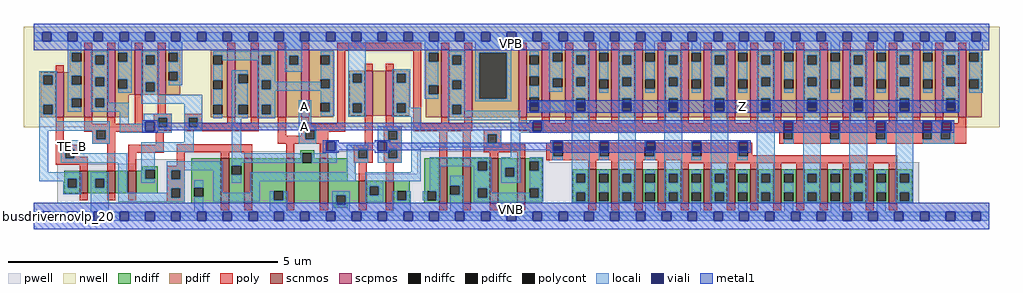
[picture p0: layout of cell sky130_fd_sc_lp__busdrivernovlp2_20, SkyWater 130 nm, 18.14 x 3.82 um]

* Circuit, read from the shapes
.subckt sky130_fd_sc_lp__busdrivernovlp2_20 A TE_B VGND VNB VPB VPWR Z
XM1 VGND TE_B n1 VNB sky130_fd_pr__nfet_01v8 w=0.42 l=0.15
XM2 n2 n1 VGND VNB sky130_fd_pr__nfet_01v8 w=0.42 l=0.15
XM3 n3 n4 n2 VNB sky130_fd_pr__nfet_01v8 w=0.42 l=0.15
XM4 n5 TE_B VGND VNB sky130_fd_pr__nfet_01v8 w=0.84 l=0.15 m=2
XM5 n5 A VGND VNB sky130_fd_pr__nfet_01v8 w=0.84 l=0.15 m=2
XM6 n6 TE_B VGND VNB sky130_fd_pr__nfet_01v8 w=0.42 l=0.15
XM7 VGND n5 n6 VNB sky130_fd_pr__nfet_01v8 w=0.42 l=0.15
XM8 VGND A n7 VNB sky130_fd_pr__nfet_01v8 w=0.84 l=0.15 m=2
XM9 n4 n6 n7 VNB sky130_fd_pr__nfet_01v8 w=0.84 l=0.15 m=2
XM10 VGND n5 Z VNB sky130_fd_pr__nfet_01v8 w=0.64 l=0.15 m=14
XM11 VPWR TE_B n1 VPB sky130_fd_pr__pfet_01v8 w=0.84 l=0.15
XM12 n4 n1 VPWR VPB sky130_fd_pr__pfet_01v8 w=1.26 l=0.15 m=2
XM13 n3 n1 VPWR VPB sky130_fd_pr__pfet_01v8 w=0.84 l=0.15
XM14 VPWR n4 n3 VPB sky130_fd_pr__pfet_01v8 w=0.84 l=0.15
XM15 n5 n3 n8 VPB sky130_fd_pr__pfet_01v8 w=1.26 l=0.15 m=2
XM16 VPWR A n8 VPB sky130_fd_pr__pfet_01v8 w=1.26 l=0.15 m=2
XM17 n9 TE_B VPWR VPB sky130_fd_pr__pfet_01v8 w=0.84 l=0.15
XM18 n6 n5 n9 VPB sky130_fd_pr__pfet_01v8 w=0.84 l=0.15
XM19 n4 A VPWR VPB sky130_fd_pr__pfet_01v8 w=1.26 l=0.15 m=2
XM20 Z n4 VPWR VPB sky130_fd_pr__pfet_01v8 w=1.26 l=0.15 m=20
.ends

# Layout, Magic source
magic
tech sky130A
magscale 1 2
<< nwell >>
rect -38 331 3590 704
<< pwell >>
rect 964 241 1068 271
rect 559 211 1194 241
rect 377 195 1194 211
rect 88 157 1194 195
rect 1425 201 1916 241
rect 1425 157 3292 201
rect 88 49 3292 157
rect 0 0 3552 49
<< scnmos >>
rect 171 85 201 169
rect 273 85 303 169
rect 351 85 381 169
rect 696 47 726 215
rect 782 47 812 215
rect 938 47 968 215
rect 1064 47 1094 215
rect 1208 47 1238 131
rect 1308 47 1338 131
rect 1508 47 1538 215
rect 1594 47 1624 215
rect 1696 47 1726 215
rect 1798 47 1828 215
rect 2061 47 2091 175
rect 2147 47 2177 175
rect 2233 47 2263 175
rect 2319 47 2349 175
rect 2405 47 2435 175
rect 2491 47 2521 175
rect 2577 47 2607 175
rect 2663 47 2693 175
rect 2749 47 2779 175
rect 2835 47 2865 175
rect 2921 47 2951 175
rect 3007 47 3037 175
rect 3093 47 3123 175
rect 3179 47 3209 175
<< scpmos >>
rect 81 367 111 535
rect 187 367 217 619
rect 273 367 303 619
rect 375 451 405 619
rect 461 451 491 619
rect 720 367 750 619
rect 806 367 836 619
rect 908 367 938 619
rect 994 367 1024 619
rect 1230 373 1260 541
rect 1308 373 1338 541
rect 1514 367 1544 619
rect 1600 367 1630 619
rect 1803 367 1833 619
rect 1889 367 1919 619
rect 1975 367 2005 619
rect 2061 367 2091 619
rect 2147 367 2177 619
rect 2233 367 2263 619
rect 2319 367 2349 619
rect 2405 367 2435 619
rect 2491 367 2521 619
rect 2577 367 2607 619
rect 2663 367 2693 619
rect 2749 367 2779 619
rect 2835 367 2865 619
rect 2921 367 2951 619
rect 3007 367 3037 619
rect 3093 367 3123 619
rect 3179 367 3209 619
rect 3265 367 3295 619
rect 3351 367 3381 619
rect 3437 367 3467 619
<< ndiff >>
rect 990 233 1042 245
rect 990 215 999 233
rect 403 173 461 185
rect 403 169 415 173
rect 114 139 171 169
rect 114 105 126 139
rect 160 105 171 139
rect 114 85 171 105
rect 201 139 273 169
rect 201 105 228 139
rect 262 105 273 139
rect 201 85 273 105
rect 303 85 351 169
rect 381 139 415 169
rect 449 139 461 173
rect 381 85 461 139
rect 585 105 696 215
rect 585 71 597 105
rect 631 71 696 105
rect 585 47 696 71
rect 726 188 782 215
rect 726 154 737 188
rect 771 154 782 188
rect 726 47 782 154
rect 812 93 938 215
rect 812 59 893 93
rect 927 59 938 93
rect 812 47 938 59
rect 968 199 999 215
rect 1033 215 1042 233
rect 1033 199 1064 215
rect 968 47 1064 199
rect 1094 131 1168 215
rect 1094 77 1208 131
rect 1094 47 1125 77
rect 1116 43 1125 47
rect 1159 47 1208 77
rect 1238 111 1308 131
rect 1238 77 1249 111
rect 1283 77 1308 111
rect 1238 47 1308 77
rect 1338 93 1397 131
rect 1338 59 1351 93
rect 1385 59 1397 93
rect 1338 47 1397 59
rect 1451 93 1508 215
rect 1451 59 1463 93
rect 1497 59 1508 93
rect 1451 47 1508 59
rect 1538 113 1594 215
rect 1538 79 1549 113
rect 1583 79 1594 113
rect 1538 47 1594 79
rect 1624 203 1696 215
rect 1624 169 1651 203
rect 1685 169 1696 203
rect 1624 103 1696 169
rect 1624 69 1651 103
rect 1685 69 1696 103
rect 1624 47 1696 69
rect 1726 180 1798 215
rect 1726 146 1753 180
rect 1787 146 1798 180
rect 1726 47 1798 146
rect 1828 203 1890 215
rect 1828 169 1844 203
rect 1878 169 1890 203
rect 1828 103 1890 169
rect 1828 69 1844 103
rect 1878 69 1890 103
rect 1828 47 1890 69
rect 2004 157 2061 175
rect 2004 123 2016 157
rect 2050 123 2061 157
rect 2004 89 2061 123
rect 2004 55 2016 89
rect 2050 55 2061 89
rect 2004 47 2061 55
rect 2091 157 2147 175
rect 2091 123 2102 157
rect 2136 123 2147 157
rect 2091 89 2147 123
rect 2091 55 2102 89
rect 2136 55 2147 89
rect 2091 47 2147 55
rect 2177 157 2233 175
rect 2177 123 2188 157
rect 2222 123 2233 157
rect 2177 89 2233 123
rect 2177 55 2188 89
rect 2222 55 2233 89
rect 2177 47 2233 55
rect 2263 157 2319 175
rect 2263 123 2274 157
rect 2308 123 2319 157
rect 2263 89 2319 123
rect 2263 55 2274 89
rect 2308 55 2319 89
rect 2263 47 2319 55
rect 2349 157 2405 175
rect 2349 123 2360 157
rect 2394 123 2405 157
rect 2349 89 2405 123
rect 2349 55 2360 89
rect 2394 55 2405 89
rect 2349 47 2405 55
rect 2435 157 2491 175
rect 2435 123 2446 157
rect 2480 123 2491 157
rect 2435 89 2491 123
rect 2435 55 2446 89
rect 2480 55 2491 89
rect 2435 47 2491 55
rect 2521 157 2577 175
rect 2521 123 2532 157
rect 2566 123 2577 157
rect 2521 89 2577 123
rect 2521 55 2532 89
rect 2566 55 2577 89
rect 2521 47 2577 55
rect 2607 157 2663 175
rect 2607 123 2618 157
rect 2652 123 2663 157
rect 2607 89 2663 123
rect 2607 55 2618 89
rect 2652 55 2663 89
rect 2607 47 2663 55
rect 2693 157 2749 175
rect 2693 123 2704 157
rect 2738 123 2749 157
rect 2693 89 2749 123
rect 2693 55 2704 89
rect 2738 55 2749 89
rect 2693 47 2749 55
rect 2779 157 2835 175
rect 2779 123 2790 157
rect 2824 123 2835 157
rect 2779 89 2835 123
rect 2779 55 2790 89
rect 2824 55 2835 89
rect 2779 47 2835 55
rect 2865 157 2921 175
rect 2865 123 2876 157
rect 2910 123 2921 157
rect 2865 89 2921 123
rect 2865 55 2876 89
rect 2910 55 2921 89
rect 2865 47 2921 55
rect 2951 157 3007 175
rect 2951 123 2962 157
rect 2996 123 3007 157
rect 2951 89 3007 123
rect 2951 55 2962 89
rect 2996 55 3007 89
rect 2951 47 3007 55
rect 3037 157 3093 175
rect 3037 123 3048 157
rect 3082 123 3093 157
rect 3037 89 3093 123
rect 3037 55 3048 89
rect 3082 55 3093 89
rect 3037 47 3093 55
rect 3123 157 3179 175
rect 3123 123 3134 157
rect 3168 123 3179 157
rect 3123 89 3179 123
rect 3123 55 3134 89
rect 3168 55 3179 89
rect 3123 47 3179 55
rect 3209 157 3266 175
rect 3209 123 3220 157
rect 3254 123 3266 157
rect 3209 89 3266 123
rect 3209 55 3220 89
rect 3254 55 3266 89
rect 3209 47 3266 55
rect 1159 43 1168 47
rect 1116 31 1168 43
<< pdiff >>
rect 133 607 187 619
rect 133 573 142 607
rect 176 573 187 607
rect 133 535 187 573
rect 27 523 81 535
rect 27 489 36 523
rect 70 489 81 523
rect 27 413 81 489
rect 27 379 36 413
rect 70 379 81 413
rect 27 367 81 379
rect 111 522 187 535
rect 111 488 142 522
rect 176 488 187 522
rect 111 438 187 488
rect 111 404 142 438
rect 176 404 187 438
rect 111 367 187 404
rect 217 597 273 619
rect 217 563 228 597
rect 262 563 273 597
rect 217 517 273 563
rect 217 483 228 517
rect 262 483 273 517
rect 217 438 273 483
rect 217 404 228 438
rect 262 404 273 438
rect 217 367 273 404
rect 303 607 375 619
rect 303 573 314 607
rect 348 573 375 607
rect 303 508 375 573
rect 303 474 314 508
rect 348 474 375 508
rect 303 451 375 474
rect 405 597 461 619
rect 405 563 416 597
rect 450 563 461 597
rect 405 497 461 563
rect 405 463 416 497
rect 450 463 461 497
rect 405 451 461 463
rect 491 607 545 619
rect 491 573 502 607
rect 536 573 545 607
rect 491 537 545 573
rect 491 503 502 537
rect 536 503 545 537
rect 491 451 545 503
rect 658 597 720 619
rect 658 563 667 597
rect 701 563 720 597
rect 658 505 720 563
rect 658 471 667 505
rect 701 471 720 505
rect 303 367 353 451
rect 658 413 720 471
rect 658 379 667 413
rect 701 379 720 413
rect 658 367 720 379
rect 750 527 806 619
rect 750 493 761 527
rect 795 493 806 527
rect 750 413 806 493
rect 750 379 761 413
rect 795 379 806 413
rect 750 367 806 379
rect 836 597 908 619
rect 836 563 847 597
rect 881 563 908 597
rect 836 505 908 563
rect 836 471 847 505
rect 881 471 908 505
rect 836 413 908 471
rect 836 379 847 413
rect 881 379 908 413
rect 836 367 908 379
rect 938 596 994 619
rect 938 562 949 596
rect 983 562 994 596
rect 938 367 994 562
rect 1024 597 1113 619
rect 1024 563 1067 597
rect 1101 563 1113 597
rect 1024 509 1113 563
rect 1024 475 1067 509
rect 1101 475 1113 509
rect 1024 421 1113 475
rect 1024 387 1067 421
rect 1101 387 1113 421
rect 1024 367 1113 387
rect 1173 529 1230 541
rect 1173 495 1185 529
rect 1219 495 1230 529
rect 1173 419 1230 495
rect 1173 385 1185 419
rect 1219 385 1230 419
rect 1173 373 1230 385
rect 1260 373 1308 541
rect 1338 529 1395 541
rect 1338 495 1349 529
rect 1383 495 1395 529
rect 1338 419 1395 495
rect 1338 385 1349 419
rect 1383 385 1395 419
rect 1338 373 1395 385
rect 1457 607 1514 619
rect 1457 573 1469 607
rect 1503 573 1514 607
rect 1457 487 1514 573
rect 1457 453 1469 487
rect 1503 453 1514 487
rect 1457 367 1514 453
rect 1544 597 1600 619
rect 1544 563 1555 597
rect 1589 563 1600 597
rect 1544 505 1600 563
rect 1544 471 1555 505
rect 1589 471 1600 505
rect 1544 413 1600 471
rect 1544 379 1555 413
rect 1589 379 1600 413
rect 1544 367 1600 379
rect 1630 607 1803 619
rect 1630 437 1657 607
rect 1759 437 1803 607
rect 1630 367 1803 437
rect 1833 597 1889 619
rect 1833 563 1844 597
rect 1878 563 1889 597
rect 1833 519 1889 563
rect 1833 485 1844 519
rect 1878 485 1889 519
rect 1833 442 1889 485
rect 1833 408 1844 442
rect 1878 408 1889 442
rect 1833 367 1889 408
rect 1919 607 1975 619
rect 1919 573 1930 607
rect 1964 573 1975 607
rect 1919 512 1975 573
rect 1919 478 1930 512
rect 1964 478 1975 512
rect 1919 367 1975 478
rect 2005 597 2061 619
rect 2005 563 2016 597
rect 2050 563 2061 597
rect 2005 517 2061 563
rect 2005 483 2016 517
rect 2050 483 2061 517
rect 2005 438 2061 483
rect 2005 404 2016 438
rect 2050 404 2061 438
rect 2005 367 2061 404
rect 2091 607 2147 619
rect 2091 573 2102 607
rect 2136 573 2147 607
rect 2091 508 2147 573
rect 2091 474 2102 508
rect 2136 474 2147 508
rect 2091 367 2147 474
rect 2177 597 2233 619
rect 2177 563 2188 597
rect 2222 563 2233 597
rect 2177 517 2233 563
rect 2177 483 2188 517
rect 2222 483 2233 517
rect 2177 438 2233 483
rect 2177 404 2188 438
rect 2222 404 2233 438
rect 2177 367 2233 404
rect 2263 607 2319 619
rect 2263 573 2274 607
rect 2308 573 2319 607
rect 2263 508 2319 573
rect 2263 474 2274 508
rect 2308 474 2319 508
rect 2263 367 2319 474
rect 2349 597 2405 619
rect 2349 563 2360 597
rect 2394 563 2405 597
rect 2349 517 2405 563
rect 2349 483 2360 517
rect 2394 483 2405 517
rect 2349 438 2405 483
rect 2349 404 2360 438
rect 2394 404 2405 438
rect 2349 367 2405 404
rect 2435 607 2491 619
rect 2435 573 2446 607
rect 2480 573 2491 607
rect 2435 508 2491 573
rect 2435 474 2446 508
rect 2480 474 2491 508
rect 2435 367 2491 474
rect 2521 597 2577 619
rect 2521 563 2532 597
rect 2566 563 2577 597
rect 2521 517 2577 563
rect 2521 483 2532 517
rect 2566 483 2577 517
rect 2521 438 2577 483
rect 2521 404 2532 438
rect 2566 404 2577 438
rect 2521 367 2577 404
rect 2607 607 2663 619
rect 2607 573 2618 607
rect 2652 573 2663 607
rect 2607 508 2663 573
rect 2607 474 2618 508
rect 2652 474 2663 508
rect 2607 367 2663 474
rect 2693 597 2749 619
rect 2693 563 2704 597
rect 2738 563 2749 597
rect 2693 517 2749 563
rect 2693 483 2704 517
rect 2738 483 2749 517
rect 2693 438 2749 483
rect 2693 404 2704 438
rect 2738 404 2749 438
rect 2693 367 2749 404
rect 2779 607 2835 619
rect 2779 573 2790 607
rect 2824 573 2835 607
rect 2779 508 2835 573
rect 2779 474 2790 508
rect 2824 474 2835 508
rect 2779 367 2835 474
rect 2865 597 2921 619
rect 2865 563 2876 597
rect 2910 563 2921 597
rect 2865 517 2921 563
rect 2865 483 2876 517
rect 2910 483 2921 517
rect 2865 438 2921 483
rect 2865 404 2876 438
rect 2910 404 2921 438
rect 2865 367 2921 404
rect 2951 607 3007 619
rect 2951 573 2962 607
rect 2996 573 3007 607
rect 2951 508 3007 573
rect 2951 474 2962 508
rect 2996 474 3007 508
rect 2951 367 3007 474
rect 3037 597 3093 619
rect 3037 563 3048 597
rect 3082 563 3093 597
rect 3037 517 3093 563
rect 3037 483 3048 517
rect 3082 483 3093 517
rect 3037 438 3093 483
rect 3037 404 3048 438
rect 3082 404 3093 438
rect 3037 367 3093 404
rect 3123 607 3179 619
rect 3123 573 3134 607
rect 3168 573 3179 607
rect 3123 508 3179 573
rect 3123 474 3134 508
rect 3168 474 3179 508
rect 3123 367 3179 474
rect 3209 597 3265 619
rect 3209 563 3220 597
rect 3254 563 3265 597
rect 3209 517 3265 563
rect 3209 483 3220 517
rect 3254 483 3265 517
rect 3209 438 3265 483
rect 3209 404 3220 438
rect 3254 404 3265 438
rect 3209 367 3265 404
rect 3295 607 3351 619
rect 3295 573 3306 607
rect 3340 573 3351 607
rect 3295 508 3351 573
rect 3295 474 3306 508
rect 3340 474 3351 508
rect 3295 367 3351 474
rect 3381 597 3437 619
rect 3381 563 3392 597
rect 3426 563 3437 597
rect 3381 517 3437 563
rect 3381 483 3392 517
rect 3426 483 3437 517
rect 3381 438 3437 483
rect 3381 404 3392 438
rect 3426 404 3437 438
rect 3381 367 3437 404
rect 3467 607 3524 619
rect 3467 573 3478 607
rect 3512 573 3524 607
rect 3467 508 3524 573
rect 3467 474 3478 508
rect 3512 474 3524 508
rect 3467 367 3524 474
<< ndiffc >>
rect 126 105 160 139
rect 228 105 262 139
rect 415 139 449 173
rect 597 71 631 105
rect 737 154 771 188
rect 893 59 927 93
rect 999 199 1033 233
rect 1125 43 1159 77
rect 1249 77 1283 111
rect 1351 59 1385 93
rect 1463 59 1497 93
rect 1549 79 1583 113
rect 1651 169 1685 203
rect 1651 69 1685 103
rect 1753 146 1787 180
rect 1844 169 1878 203
rect 1844 69 1878 103
rect 2016 123 2050 157
rect 2016 55 2050 89
rect 2102 123 2136 157
rect 2102 55 2136 89
rect 2188 123 2222 157
rect 2188 55 2222 89
rect 2274 123 2308 157
rect 2274 55 2308 89
rect 2360 123 2394 157
rect 2360 55 2394 89
rect 2446 123 2480 157
rect 2446 55 2480 89
rect 2532 123 2566 157
rect 2532 55 2566 89
rect 2618 123 2652 157
rect 2618 55 2652 89
rect 2704 123 2738 157
rect 2704 55 2738 89
rect 2790 123 2824 157
rect 2790 55 2824 89
rect 2876 123 2910 157
rect 2876 55 2910 89
rect 2962 123 2996 157
rect 2962 55 2996 89
rect 3048 123 3082 157
rect 3048 55 3082 89
rect 3134 123 3168 157
rect 3134 55 3168 89
rect 3220 123 3254 157
rect 3220 55 3254 89
<< pdiffc >>
rect 142 573 176 607
rect 36 489 70 523
rect 36 379 70 413
rect 142 488 176 522
rect 142 404 176 438
rect 228 563 262 597
rect 228 483 262 517
rect 228 404 262 438
rect 314 573 348 607
rect 314 474 348 508
rect 416 563 450 597
rect 416 463 450 497
rect 502 573 536 607
rect 502 503 536 537
rect 667 563 701 597
rect 667 471 701 505
rect 667 379 701 413
rect 761 493 795 527
rect 761 379 795 413
rect 847 563 881 597
rect 847 471 881 505
rect 847 379 881 413
rect 949 562 983 596
rect 1067 563 1101 597
rect 1067 475 1101 509
rect 1067 387 1101 421
rect 1185 495 1219 529
rect 1185 385 1219 419
rect 1349 495 1383 529
rect 1349 385 1383 419
rect 1469 573 1503 607
rect 1469 453 1503 487
rect 1555 563 1589 597
rect 1555 471 1589 505
rect 1555 379 1589 413
rect 1657 437 1759 607
rect 1844 563 1878 597
rect 1844 485 1878 519
rect 1844 408 1878 442
rect 1930 573 1964 607
rect 1930 478 1964 512
rect 2016 563 2050 597
rect 2016 483 2050 517
rect 2016 404 2050 438
rect 2102 573 2136 607
rect 2102 474 2136 508
rect 2188 563 2222 597
rect 2188 483 2222 517
rect 2188 404 2222 438
rect 2274 573 2308 607
rect 2274 474 2308 508
rect 2360 563 2394 597
rect 2360 483 2394 517
rect 2360 404 2394 438
rect 2446 573 2480 607
rect 2446 474 2480 508
rect 2532 563 2566 597
rect 2532 483 2566 517
rect 2532 404 2566 438
rect 2618 573 2652 607
rect 2618 474 2652 508
rect 2704 563 2738 597
rect 2704 483 2738 517
rect 2704 404 2738 438
rect 2790 573 2824 607
rect 2790 474 2824 508
rect 2876 563 2910 597
rect 2876 483 2910 517
rect 2876 404 2910 438
rect 2962 573 2996 607
rect 2962 474 2996 508
rect 3048 563 3082 597
rect 3048 483 3082 517
rect 3048 404 3082 438
rect 3134 573 3168 607
rect 3134 474 3168 508
rect 3220 563 3254 597
rect 3220 483 3254 517
rect 3220 404 3254 438
rect 3306 573 3340 607
rect 3306 474 3340 508
rect 3392 563 3426 597
rect 3392 483 3426 517
rect 3392 404 3426 438
rect 3478 573 3512 607
rect 3478 474 3512 508
<< poly >>
rect 187 619 217 645
rect 273 619 303 645
rect 375 619 405 645
rect 461 619 491 645
rect 720 619 750 645
rect 806 619 836 645
rect 908 619 938 645
rect 994 619 1024 645
rect 81 535 111 561
rect 81 265 111 367
rect 187 343 217 367
rect 273 343 303 367
rect 375 343 405 451
rect 461 381 491 451
rect 187 319 405 343
rect 187 313 233 319
rect 217 285 233 313
rect 267 313 405 319
rect 447 365 513 381
rect 447 331 463 365
rect 497 331 513 365
rect 447 315 513 331
rect 560 365 626 381
rect 1128 615 1440 645
rect 1514 619 1544 645
rect 1600 619 1630 645
rect 1803 619 1833 645
rect 1889 619 1919 645
rect 1975 619 2005 645
rect 2061 619 2091 645
rect 2147 619 2177 645
rect 2233 619 2263 645
rect 2319 619 2349 645
rect 2405 619 2435 645
rect 2491 619 2521 645
rect 2577 619 2607 645
rect 2663 619 2693 645
rect 2749 619 2779 645
rect 2835 619 2865 645
rect 2921 619 2951 645
rect 3007 619 3037 645
rect 3093 619 3123 645
rect 3179 619 3209 645
rect 3265 619 3295 645
rect 3351 619 3381 645
rect 3437 619 3467 645
rect 560 331 576 365
rect 610 345 626 365
rect 720 345 750 367
rect 806 345 836 367
rect 610 331 836 345
rect 560 315 836 331
rect 267 285 303 313
rect 217 269 303 285
rect 81 249 167 265
rect 81 215 117 249
rect 151 221 167 249
rect 151 215 201 221
rect 81 191 201 215
rect 171 169 201 191
rect 273 169 303 269
rect 453 265 483 315
rect 908 299 938 367
rect 994 343 1024 367
rect 1128 343 1158 615
rect 1230 541 1260 567
rect 1308 541 1338 567
rect 994 319 1158 343
rect 994 299 1010 319
rect 908 285 1010 299
rect 1044 313 1158 319
rect 1044 285 1094 313
rect 908 269 1094 285
rect 351 235 483 265
rect 531 237 812 267
rect 351 169 381 235
rect 531 187 561 237
rect 696 215 726 237
rect 782 215 812 237
rect 938 215 968 269
rect 495 171 561 187
rect 495 137 511 171
rect 545 137 561 171
rect 495 103 561 137
rect 171 59 201 85
rect 273 59 303 85
rect 351 59 381 85
rect 495 69 511 103
rect 545 69 561 103
rect 495 53 561 69
rect 1064 215 1094 269
rect 1230 265 1260 373
rect 1308 333 1338 373
rect 1410 345 1440 615
rect 1514 345 1544 367
rect 1600 345 1630 367
rect 1190 249 1260 265
rect 1190 215 1206 249
rect 1240 215 1260 249
rect 1190 199 1260 215
rect 1302 317 1368 333
rect 1302 283 1318 317
rect 1352 283 1368 317
rect 1410 315 1630 345
rect 1803 345 1833 367
rect 1889 345 1919 367
rect 1975 345 2005 367
rect 2061 345 2091 367
rect 2147 345 2177 367
rect 2233 345 2263 367
rect 2319 345 2349 367
rect 2405 345 2435 367
rect 2491 345 2521 367
rect 2577 345 2607 367
rect 2663 345 2693 367
rect 2749 345 2779 367
rect 2835 345 2865 367
rect 2921 345 2951 367
rect 3007 345 3037 367
rect 3093 345 3123 367
rect 3179 345 3209 367
rect 3265 345 3295 367
rect 3351 345 3381 367
rect 3437 345 3467 367
rect 1302 249 1368 283
rect 1302 215 1318 249
rect 1352 215 1368 249
rect 1508 215 1538 315
rect 1594 215 1624 315
rect 1672 305 1738 321
rect 1803 319 3467 345
rect 1803 315 2788 319
rect 1672 271 1688 305
rect 1722 271 1738 305
rect 2772 285 2788 315
rect 2822 285 2960 319
rect 2994 285 3132 319
rect 3166 285 3304 319
rect 3338 285 3372 319
rect 3406 285 3467 319
rect 1672 267 1738 271
rect 1672 237 1828 267
rect 1696 215 1726 237
rect 1798 215 1828 237
rect 1905 257 2670 273
rect 2772 269 3467 285
rect 1905 223 1932 257
rect 1966 223 2104 257
rect 2138 223 2272 257
rect 2306 223 2448 257
rect 2482 223 2620 257
rect 2654 227 2670 257
rect 2654 223 3209 227
rect 1302 199 1368 215
rect 1208 131 1238 199
rect 1308 131 1338 199
rect 696 21 726 47
rect 782 21 812 47
rect 938 21 968 47
rect 1064 21 1094 47
rect 1905 207 3209 223
rect 2061 175 2091 207
rect 2147 175 2177 207
rect 2233 175 2263 207
rect 2319 175 2349 207
rect 2405 197 3209 207
rect 2405 175 2435 197
rect 2491 175 2521 197
rect 2577 175 2607 197
rect 2663 175 2693 197
rect 2749 175 2779 197
rect 2835 175 2865 197
rect 2921 175 2951 197
rect 3007 175 3037 197
rect 3093 175 3123 197
rect 3179 175 3209 197
rect 1208 21 1238 47
rect 1308 21 1338 47
rect 1508 21 1538 47
rect 1594 21 1624 47
rect 1696 21 1726 47
rect 1798 21 1828 47
rect 2061 21 2091 47
rect 2147 21 2177 47
rect 2233 21 2263 47
rect 2319 21 2349 47
rect 2405 21 2435 47
rect 2491 21 2521 47
rect 2577 21 2607 47
rect 2663 21 2693 47
rect 2749 21 2779 47
rect 2835 21 2865 47
rect 2921 21 2951 47
rect 3007 21 3037 47
rect 3093 21 3123 47
rect 3179 21 3209 47
<< polycont >>
rect 233 285 267 319
rect 463 331 497 365
rect 576 331 610 365
rect 117 215 151 249
rect 1010 285 1044 319
rect 511 137 545 171
rect 511 69 545 103
rect 1206 215 1240 249
rect 1318 283 1352 317
rect 1318 215 1352 249
rect 1688 271 1722 305
rect 2788 285 2822 319
rect 2960 285 2994 319
rect 3132 285 3166 319
rect 3304 285 3338 319
rect 3372 285 3406 319
rect 1932 223 1966 257
rect 2104 223 2138 257
rect 2272 223 2306 257
rect 2448 223 2482 257
rect 2620 223 2654 257
<< locali >>
rect 0 649 31 683
rect 65 649 127 683
rect 161 649 223 683
rect 257 649 319 683
rect 353 649 415 683
rect 449 649 511 683
rect 545 649 607 683
rect 641 649 703 683
rect 737 649 799 683
rect 833 649 895 683
rect 929 649 991 683
rect 1025 649 1087 683
rect 1121 649 1183 683
rect 1217 649 1279 683
rect 1313 649 1375 683
rect 1409 649 1471 683
rect 1505 649 1567 683
rect 1601 649 1663 683
rect 1697 649 1759 683
rect 1793 649 1855 683
rect 1889 649 1951 683
rect 1985 649 2047 683
rect 2081 649 2143 683
rect 2177 649 2239 683
rect 2273 649 2335 683
rect 2369 649 2431 683
rect 2465 649 2527 683
rect 2561 649 2623 683
rect 2657 649 2719 683
rect 2753 649 2815 683
rect 2849 649 2911 683
rect 2945 649 3007 683
rect 3041 649 3103 683
rect 3137 649 3199 683
rect 3233 649 3295 683
rect 3329 649 3391 683
rect 3425 649 3487 683
rect 3521 649 3552 683
rect 126 607 176 649
rect 126 573 142 607
rect 20 523 86 539
rect 20 489 36 523
rect 70 489 86 523
rect 20 413 86 489
rect 20 379 36 413
rect 70 379 86 413
rect 126 522 176 573
rect 126 488 142 522
rect 126 438 176 488
rect 126 404 142 438
rect 126 388 176 404
rect 212 597 278 613
rect 212 563 228 597
rect 262 563 278 597
rect 212 517 278 563
rect 212 483 228 517
rect 262 483 278 517
rect 212 438 278 483
rect 314 607 364 649
rect 348 573 364 607
rect 314 508 364 573
rect 348 474 364 508
rect 314 458 364 474
rect 400 597 466 613
rect 400 563 416 597
rect 450 563 466 597
rect 400 497 466 563
rect 400 463 416 497
rect 450 463 466 497
rect 502 607 552 649
rect 536 573 552 607
rect 502 537 552 573
rect 536 503 552 537
rect 502 487 552 503
rect 667 597 897 613
rect 701 579 847 597
rect 667 505 701 563
rect 831 563 847 579
rect 881 563 897 597
rect 212 404 228 438
rect 262 422 278 438
rect 400 451 466 463
rect 262 404 353 422
rect 400 417 626 451
rect 212 388 353 404
rect 20 352 86 379
rect 20 319 283 352
rect 20 318 233 319
rect 20 163 54 318
rect 217 285 233 318
rect 267 285 283 319
rect 319 344 353 388
rect 409 365 513 381
rect 409 350 463 365
rect 409 344 415 350
rect 319 316 415 344
rect 449 331 463 350
rect 497 331 513 365
rect 449 316 513 331
rect 319 310 513 316
rect 560 365 626 417
rect 560 331 576 365
rect 610 331 626 365
rect 667 413 701 471
rect 667 363 701 379
rect 737 527 795 543
rect 737 493 761 527
rect 737 413 795 493
rect 737 379 761 413
rect 737 363 795 379
rect 831 505 897 563
rect 933 596 999 649
rect 933 562 949 596
rect 983 562 999 596
rect 933 536 999 562
rect 1067 597 1117 613
rect 1101 563 1117 597
rect 831 471 847 505
rect 881 500 897 505
rect 1067 509 1117 563
rect 881 475 1067 500
rect 1101 475 1117 509
rect 881 471 1117 475
rect 831 466 1117 471
rect 831 413 897 466
rect 831 379 847 413
rect 881 379 897 413
rect 831 363 897 379
rect 560 315 626 331
rect 101 249 167 282
rect 217 269 283 285
rect 560 274 594 315
rect 101 215 117 249
rect 151 233 167 249
rect 399 240 594 274
rect 151 215 348 233
rect 101 199 348 215
rect 20 139 176 163
rect 20 129 126 139
rect 110 105 126 129
rect 160 105 176 139
rect 110 81 176 105
rect 212 139 278 163
rect 212 105 228 139
rect 262 105 278 139
rect 212 17 278 105
rect 314 87 348 199
rect 399 173 449 240
rect 737 233 771 363
rect 985 335 1031 430
rect 1067 421 1117 466
rect 1101 387 1117 421
rect 1067 371 1117 387
rect 1169 529 1235 649
rect 1453 607 1503 649
rect 1453 573 1469 607
rect 1169 495 1185 529
rect 1219 495 1235 529
rect 1169 419 1235 495
rect 1169 385 1185 419
rect 1219 385 1235 419
rect 1169 369 1235 385
rect 1333 529 1399 545
rect 1333 495 1349 529
rect 1383 495 1399 529
rect 1333 419 1399 495
rect 1453 487 1503 573
rect 1453 453 1469 487
rect 1453 437 1503 453
rect 1539 597 1605 613
rect 1539 563 1555 597
rect 1589 563 1605 597
rect 1539 505 1605 563
rect 1539 471 1555 505
rect 1589 471 1605 505
rect 1333 385 1349 419
rect 1383 403 1399 419
rect 1539 413 1605 471
rect 1641 607 1775 649
rect 1641 437 1657 607
rect 1759 437 1775 607
rect 1641 427 1775 437
rect 1844 597 1878 613
rect 1844 519 1878 563
rect 1844 442 1878 485
rect 1914 607 1964 649
rect 1914 573 1930 607
rect 1914 512 1964 573
rect 1914 478 1930 512
rect 1914 462 1964 478
rect 2000 597 2066 613
rect 2000 563 2016 597
rect 2050 563 2066 597
rect 2000 517 2066 563
rect 2000 483 2016 517
rect 2050 483 2066 517
rect 1383 385 1438 403
rect 1333 369 1438 385
rect 985 319 1051 335
rect 985 285 1010 319
rect 1044 285 1051 319
rect 985 269 1051 285
rect 1279 317 1368 333
rect 1279 283 1318 317
rect 1352 283 1368 317
rect 1087 276 1127 282
rect 1121 242 1127 276
rect 1279 276 1368 283
rect 1087 233 1127 242
rect 399 139 415 173
rect 399 123 449 139
rect 495 171 701 204
rect 495 137 511 171
rect 545 170 701 171
rect 545 137 561 170
rect 495 103 561 137
rect 495 87 511 103
rect 314 69 511 87
rect 545 69 561 103
rect 314 53 561 69
rect 597 105 631 134
rect 597 17 631 71
rect 667 87 701 170
rect 737 199 999 233
rect 1033 199 1127 233
rect 1163 249 1243 265
rect 1163 215 1206 249
rect 1240 215 1243 249
rect 1163 199 1243 215
rect 1313 249 1368 276
rect 1313 242 1318 249
rect 1279 215 1318 242
rect 1352 215 1368 249
rect 1279 199 1368 215
rect 1404 321 1438 369
rect 1539 379 1555 413
rect 1589 391 1605 413
rect 2000 438 2066 483
rect 2102 607 2136 649
rect 2102 508 2136 573
rect 2102 458 2136 474
rect 2172 597 2238 613
rect 2172 563 2188 597
rect 2222 563 2238 597
rect 2172 517 2238 563
rect 2172 483 2188 517
rect 2222 483 2238 517
rect 2000 426 2016 438
rect 1589 379 1808 391
rect 1878 390 2016 426
rect 2050 390 2066 438
rect 1539 357 1808 379
rect 1774 356 1808 357
rect 1774 350 1895 356
rect 1404 305 1738 321
rect 1404 271 1688 305
rect 1722 271 1738 305
rect 1404 255 1738 271
rect 1774 316 1855 350
rect 1889 316 1895 350
rect 1774 310 1895 316
rect 737 188 771 199
rect 1163 163 1197 199
rect 1404 163 1438 255
rect 1774 219 1808 310
rect 1928 276 1966 282
rect 1928 223 1932 276
rect 737 123 771 154
rect 807 129 1197 163
rect 1233 129 1438 163
rect 1472 203 1701 219
rect 1472 185 1651 203
rect 807 87 841 129
rect 1233 111 1299 129
rect 667 53 841 87
rect 877 59 893 93
rect 927 59 943 93
rect 877 17 943 59
rect 1109 77 1175 93
rect 1109 43 1125 77
rect 1159 43 1175 77
rect 1233 77 1249 111
rect 1283 77 1299 111
rect 1472 93 1513 185
rect 1635 169 1651 185
rect 1685 169 1701 203
rect 1233 53 1299 77
rect 1335 59 1351 93
rect 1385 59 1401 93
rect 1447 59 1463 93
rect 1497 59 1513 93
rect 1549 113 1599 149
rect 1583 79 1599 113
rect 1109 17 1175 43
rect 1335 17 1401 59
rect 1549 17 1599 79
rect 1635 103 1701 169
rect 1737 180 1808 219
rect 1737 146 1753 180
rect 1787 146 1808 180
rect 1737 123 1808 146
rect 1844 203 1894 219
rect 1928 207 1966 223
rect 1878 169 1894 203
rect 1635 69 1651 103
rect 1685 87 1701 103
rect 1844 103 1894 169
rect 1685 69 1844 87
rect 1878 69 1894 103
rect 1635 53 1894 69
rect 2000 157 2066 390
rect 2172 438 2238 483
rect 2274 607 2308 649
rect 2274 508 2308 573
rect 2274 458 2308 474
rect 2344 597 2410 613
rect 2344 563 2360 597
rect 2394 563 2410 597
rect 2344 517 2410 563
rect 2344 483 2360 517
rect 2394 483 2410 517
rect 2172 390 2188 438
rect 2222 390 2238 438
rect 2100 276 2138 282
rect 2100 223 2104 276
rect 2100 207 2138 223
rect 2000 123 2016 157
rect 2050 123 2066 157
rect 2000 89 2066 123
rect 2000 55 2016 89
rect 2050 55 2066 89
rect 2000 51 2066 55
rect 2102 157 2136 173
rect 2102 89 2136 123
rect 2102 17 2136 55
rect 2172 157 2238 390
rect 2344 438 2410 483
rect 2446 607 2480 649
rect 2446 508 2480 573
rect 2446 458 2480 474
rect 2516 597 2582 613
rect 2516 563 2532 597
rect 2566 563 2582 597
rect 2516 517 2582 563
rect 2516 483 2532 517
rect 2566 483 2582 517
rect 2344 390 2360 438
rect 2394 390 2410 438
rect 2272 276 2310 282
rect 2272 257 2276 276
rect 2306 223 2310 242
rect 2272 207 2310 223
rect 2172 123 2188 157
rect 2222 123 2238 157
rect 2172 89 2238 123
rect 2172 55 2188 89
rect 2222 55 2238 89
rect 2172 51 2238 55
rect 2274 157 2308 173
rect 2274 89 2308 123
rect 2274 17 2308 55
rect 2344 157 2410 390
rect 2516 438 2582 483
rect 2618 607 2652 649
rect 2618 508 2652 573
rect 2618 458 2652 474
rect 2688 597 2754 613
rect 2688 563 2704 597
rect 2738 563 2754 597
rect 2688 517 2754 563
rect 2688 483 2704 517
rect 2738 483 2754 517
rect 2516 390 2532 438
rect 2566 390 2582 438
rect 2444 276 2482 282
rect 2444 223 2448 276
rect 2444 207 2482 223
rect 2344 123 2360 157
rect 2394 123 2410 157
rect 2344 89 2410 123
rect 2344 55 2360 89
rect 2394 55 2410 89
rect 2344 51 2410 55
rect 2446 157 2480 173
rect 2446 89 2480 123
rect 2446 17 2480 55
rect 2516 157 2582 390
rect 2688 438 2754 483
rect 2790 607 2824 649
rect 2790 508 2824 573
rect 2790 458 2824 474
rect 2860 597 2926 613
rect 2860 563 2876 597
rect 2910 563 2926 597
rect 2860 517 2926 563
rect 2860 483 2876 517
rect 2910 483 2926 517
rect 2688 390 2704 438
rect 2738 390 2754 438
rect 2616 276 2654 282
rect 2616 223 2620 276
rect 2616 207 2654 223
rect 2516 123 2532 157
rect 2566 123 2582 157
rect 2516 89 2582 123
rect 2516 55 2532 89
rect 2566 55 2582 89
rect 2516 51 2582 55
rect 2618 157 2652 173
rect 2618 89 2652 123
rect 2618 17 2652 55
rect 2688 157 2754 390
rect 2860 438 2926 483
rect 2962 607 2996 649
rect 2962 508 2996 573
rect 2962 458 2996 474
rect 3032 597 3098 613
rect 3032 563 3048 597
rect 3082 563 3098 597
rect 3032 517 3098 563
rect 3032 483 3048 517
rect 3082 483 3098 517
rect 2860 390 2876 438
rect 2910 390 2926 438
rect 2788 350 2826 352
rect 2822 285 2826 350
rect 2788 269 2826 285
rect 2688 123 2704 157
rect 2738 123 2754 157
rect 2688 89 2754 123
rect 2688 55 2704 89
rect 2738 55 2754 89
rect 2688 51 2754 55
rect 2790 157 2824 173
rect 2790 89 2824 123
rect 2790 17 2824 55
rect 2860 157 2926 390
rect 3032 438 3098 483
rect 3134 607 3168 649
rect 3134 508 3168 573
rect 3134 458 3168 474
rect 3204 597 3270 613
rect 3204 563 3220 597
rect 3254 563 3270 597
rect 3204 517 3270 563
rect 3204 483 3220 517
rect 3254 483 3270 517
rect 3032 390 3048 438
rect 3082 390 3098 438
rect 2960 350 2998 352
rect 2994 285 2998 350
rect 2960 269 2998 285
rect 2860 123 2876 157
rect 2910 123 2926 157
rect 2860 89 2926 123
rect 2860 55 2876 89
rect 2910 55 2926 89
rect 2860 51 2926 55
rect 2962 157 2996 173
rect 2962 89 2996 123
rect 2962 17 2996 55
rect 3032 157 3098 390
rect 3204 438 3270 483
rect 3306 607 3340 649
rect 3306 508 3340 573
rect 3306 458 3340 474
rect 3376 597 3442 613
rect 3376 563 3392 597
rect 3426 563 3442 597
rect 3376 517 3442 563
rect 3376 483 3392 517
rect 3426 483 3442 517
rect 3204 390 3220 438
rect 3254 390 3270 438
rect 3132 350 3170 352
rect 3166 285 3170 350
rect 3132 269 3170 285
rect 3032 123 3048 157
rect 3082 123 3098 157
rect 3032 89 3098 123
rect 3032 55 3048 89
rect 3082 55 3098 89
rect 3032 52 3098 55
rect 3134 157 3168 173
rect 3134 89 3168 123
rect 3134 17 3168 55
rect 3204 157 3270 390
rect 3376 438 3442 483
rect 3478 607 3528 649
rect 3512 573 3528 607
rect 3478 508 3528 573
rect 3512 474 3528 508
rect 3478 458 3528 474
rect 3376 390 3392 438
rect 3426 390 3442 438
rect 3376 388 3442 390
rect 3304 350 3422 352
rect 3338 319 3376 350
rect 3338 285 3372 319
rect 3410 316 3422 350
rect 3406 285 3422 316
rect 3304 269 3422 285
rect 3204 123 3220 157
rect 3254 123 3270 157
rect 3204 89 3270 123
rect 3204 55 3220 89
rect 3254 55 3270 89
rect 3204 51 3270 55
rect 0 -17 31 17
rect 65 -17 127 17
rect 161 -17 223 17
rect 257 -17 319 17
rect 353 -17 415 17
rect 449 -17 511 17
rect 545 -17 607 17
rect 641 -17 703 17
rect 737 -17 799 17
rect 833 -17 895 17
rect 929 -17 991 17
rect 1025 -17 1087 17
rect 1121 -17 1183 17
rect 1217 -17 1279 17
rect 1313 -17 1375 17
rect 1409 -17 1471 17
rect 1505 -17 1567 17
rect 1601 -17 1663 17
rect 1697 -17 1759 17
rect 1793 -17 1855 17
rect 1889 -17 1951 17
rect 1985 -17 2047 17
rect 2081 -17 2143 17
rect 2177 -17 2239 17
rect 2273 -17 2335 17
rect 2369 -17 2431 17
rect 2465 -17 2527 17
rect 2561 -17 2623 17
rect 2657 -17 2719 17
rect 2753 -17 2815 17
rect 2849 -17 2911 17
rect 2945 -17 3007 17
rect 3041 -17 3103 17
rect 3137 -17 3199 17
rect 3233 -17 3295 17
rect 3329 -17 3391 17
rect 3425 -17 3487 17
rect 3521 -17 3552 17
<< viali >>
rect 31 649 65 683
rect 127 649 161 683
rect 223 649 257 683
rect 319 649 353 683
rect 415 649 449 683
rect 511 649 545 683
rect 607 649 641 683
rect 703 649 737 683
rect 799 649 833 683
rect 895 649 929 683
rect 991 649 1025 683
rect 1087 649 1121 683
rect 1183 649 1217 683
rect 1279 649 1313 683
rect 1375 649 1409 683
rect 1471 649 1505 683
rect 1567 649 1601 683
rect 1663 649 1697 683
rect 1759 649 1793 683
rect 1855 649 1889 683
rect 1951 649 1985 683
rect 2047 649 2081 683
rect 2143 649 2177 683
rect 2239 649 2273 683
rect 2335 649 2369 683
rect 2431 649 2465 683
rect 2527 649 2561 683
rect 2623 649 2657 683
rect 2719 649 2753 683
rect 2815 649 2849 683
rect 2911 649 2945 683
rect 3007 649 3041 683
rect 3103 649 3137 683
rect 3199 649 3233 683
rect 3295 649 3329 683
rect 3391 649 3425 683
rect 3487 649 3521 683
rect 415 316 449 350
rect 1087 242 1121 276
rect 1279 242 1313 276
rect 1844 408 1878 424
rect 1844 390 1878 408
rect 2016 404 2050 424
rect 2016 390 2050 404
rect 1855 316 1889 350
rect 1932 257 1966 276
rect 1932 242 1966 257
rect 2188 404 2222 424
rect 2188 390 2222 404
rect 2104 257 2138 276
rect 2104 242 2138 257
rect 2360 404 2394 424
rect 2360 390 2394 404
rect 2276 257 2310 276
rect 2276 242 2306 257
rect 2306 242 2310 257
rect 2532 404 2566 424
rect 2532 390 2566 404
rect 2448 257 2482 276
rect 2448 242 2482 257
rect 2704 404 2738 424
rect 2704 390 2738 404
rect 2620 257 2654 276
rect 2620 242 2654 257
rect 2876 404 2910 424
rect 2876 390 2910 404
rect 2788 319 2822 350
rect 2788 316 2822 319
rect 3048 404 3082 424
rect 3048 390 3082 404
rect 2960 319 2994 350
rect 2960 316 2994 319
rect 3220 404 3254 424
rect 3220 390 3254 404
rect 3132 319 3166 350
rect 3132 316 3166 319
rect 3392 404 3426 424
rect 3392 390 3426 404
rect 3304 319 3338 350
rect 3376 319 3410 350
rect 3304 316 3338 319
rect 3376 316 3406 319
rect 3406 316 3410 319
rect 31 -17 65 17
rect 127 -17 161 17
rect 223 -17 257 17
rect 319 -17 353 17
rect 415 -17 449 17
rect 511 -17 545 17
rect 607 -17 641 17
rect 703 -17 737 17
rect 799 -17 833 17
rect 895 -17 929 17
rect 991 -17 1025 17
rect 1087 -17 1121 17
rect 1183 -17 1217 17
rect 1279 -17 1313 17
rect 1375 -17 1409 17
rect 1471 -17 1505 17
rect 1567 -17 1601 17
rect 1663 -17 1697 17
rect 1759 -17 1793 17
rect 1855 -17 1889 17
rect 1951 -17 1985 17
rect 2047 -17 2081 17
rect 2143 -17 2177 17
rect 2239 -17 2273 17
rect 2335 -17 2369 17
rect 2431 -17 2465 17
rect 2527 -17 2561 17
rect 2623 -17 2657 17
rect 2719 -17 2753 17
rect 2815 -17 2849 17
rect 2911 -17 2945 17
rect 3007 -17 3041 17
rect 3103 -17 3137 17
rect 3199 -17 3233 17
rect 3295 -17 3329 17
rect 3391 -17 3425 17
rect 3487 -17 3521 17
<< metal1 >>
rect 0 683 3552 715
rect 0 649 31 683
rect 65 649 127 683
rect 161 649 223 683
rect 257 649 319 683
rect 353 649 415 683
rect 449 649 511 683
rect 545 649 607 683
rect 641 649 703 683
rect 737 649 799 683
rect 833 649 895 683
rect 929 649 991 683
rect 1025 649 1087 683
rect 1121 649 1183 683
rect 1217 649 1279 683
rect 1313 649 1375 683
rect 1409 649 1471 683
rect 1505 649 1567 683
rect 1601 649 1663 683
rect 1697 649 1759 683
rect 1793 649 1855 683
rect 1889 649 1951 683
rect 1985 649 2047 683
rect 2081 649 2143 683
rect 2177 649 2239 683
rect 2273 649 2335 683
rect 2369 649 2431 683
rect 2465 649 2527 683
rect 2561 649 2623 683
rect 2657 649 2719 683
rect 2753 649 2815 683
rect 2849 649 2911 683
rect 2945 649 3007 683
rect 3041 649 3103 683
rect 3137 649 3199 683
rect 3233 649 3295 683
rect 3329 649 3391 683
rect 3425 649 3487 683
rect 3521 649 3552 683
rect 0 617 3552 649
rect 1832 424 3438 430
rect 1832 390 1844 424
rect 1878 390 2016 424
rect 2050 390 2188 424
rect 2222 390 2360 424
rect 2394 390 2532 424
rect 2566 390 2704 424
rect 2738 390 2876 424
rect 2910 390 3048 424
rect 3082 390 3220 424
rect 3254 390 3392 424
rect 3426 390 3438 424
rect 1832 384 3438 390
rect 403 350 461 356
rect 403 316 415 350
rect 449 347 461 350
rect 1843 350 3422 356
rect 1843 347 1855 350
rect 449 319 1855 347
rect 449 316 461 319
rect 403 310 461 316
rect 1843 316 1855 319
rect 1889 316 2788 350
rect 2822 316 2960 350
rect 2994 316 3132 350
rect 3166 316 3304 350
rect 3338 316 3376 350
rect 3410 316 3422 350
rect 1843 310 3422 316
rect 1075 276 1133 282
rect 1075 242 1087 276
rect 1121 273 1133 276
rect 1267 276 1325 282
rect 1267 273 1279 276
rect 1121 245 1279 273
rect 1121 242 1133 245
rect 1075 236 1133 242
rect 1267 242 1279 245
rect 1313 273 1325 276
rect 1920 276 2666 282
rect 1920 273 1932 276
rect 1313 245 1932 273
rect 1313 242 1325 245
rect 1267 236 1325 242
rect 1920 242 1932 245
rect 1966 242 2104 276
rect 2138 242 2276 276
rect 2310 242 2448 276
rect 2482 242 2620 276
rect 2654 242 2666 276
rect 1920 236 2666 242
rect 0 17 3552 49
rect 0 -17 31 17
rect 65 -17 127 17
rect 161 -17 223 17
rect 257 -17 319 17
rect 353 -17 415 17
rect 449 -17 511 17
rect 545 -17 607 17
rect 641 -17 703 17
rect 737 -17 799 17
rect 833 -17 895 17
rect 929 -17 991 17
rect 1025 -17 1087 17
rect 1121 -17 1183 17
rect 1217 -17 1279 17
rect 1313 -17 1375 17
rect 1409 -17 1471 17
rect 1505 -17 1567 17
rect 1601 -17 1663 17
rect 1697 -17 1759 17
rect 1793 -17 1855 17
rect 1889 -17 1951 17
rect 1985 -17 2047 17
rect 2081 -17 2143 17
rect 2177 -17 2239 17
rect 2273 -17 2335 17
rect 2369 -17 2431 17
rect 2465 -17 2527 17
rect 2561 -17 2623 17
rect 2657 -17 2719 17
rect 2753 -17 2815 17
rect 2849 -17 2911 17
rect 2945 -17 3007 17
rect 3041 -17 3103 17
rect 3137 -17 3199 17
rect 3233 -17 3295 17
rect 3329 -17 3391 17
rect 3425 -17 3487 17
rect 3521 -17 3552 17
rect 0 -49 3552 -17
<< labels >>
flabel pwell s 0 0 3552 49 0 FreeSans 200 0 0 0 VNB
port 4 nsew ground bidirectional
flabel nwell s 0 617 3552 666 0 FreeSans 200 0 0 0 VPB
port 5 nsew power bidirectional
rlabel comment s 0 0 0 0 4 busdrivernovlp_20
flabel metal1 s 1832 384 3438 430 0 FreeSans 200 0 0 0 Z
port 7 nsew signal output
flabel metal1 s 0 617 3552 666 0 FreeSans 340 0 0 0 VPWR
port 6 nsew power bidirectional
flabel metal1 s 0 0 3552 49 0 FreeSans 340 0 0 0 VGND
port 3 nsew ground bidirectional
flabel locali s 991 390 1025 424 0 FreeSans 340 0 0 0 A
port 1 nsew signal input
flabel locali s 127 242 161 276 0 FreeSans 340 0 0 0 TE_B
port 2 nsew signal input
flabel locali s 991 316 1025 350 0 FreeSans 340 0 0 0 A
port 1 nsew signal input
<< properties >>
string LEFsite unit
string LEFclass CORE
string FIXED_BBOX 0 0 3552 666
string GDS_FILE $PDKPATH/libs.ref/sky130_fd_sc_lp/gds/sky130_fd_sc_lp.gds
string LEFsymmetry X Y
string GDS_END 721358
string GDS_START 694268
<< end >>
